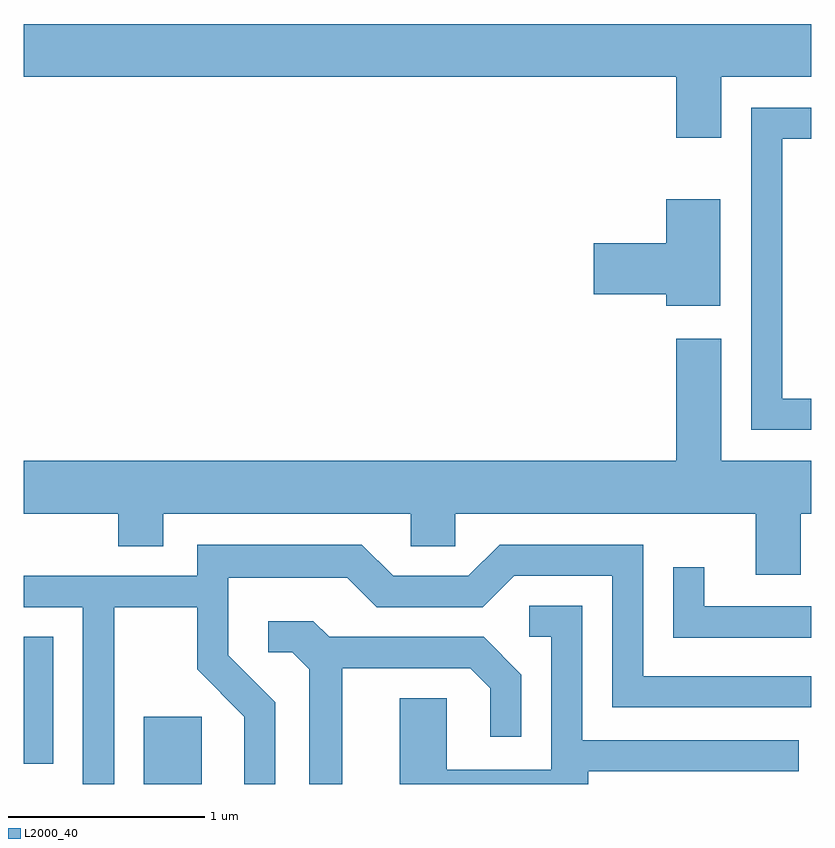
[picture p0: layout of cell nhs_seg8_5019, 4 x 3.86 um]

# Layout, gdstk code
import gdstk
lib = gdstk.Library(unit=1e-6, precision=1e-09)
def R(c, l, rs):  # rectangles x0, y0, x1, y1
    for r in rs: c.add(gdstk.rectangle(r[:2], r[2:], *l))
def P(c, l, *ps):  # polygons
    for p in ps: c.add(gdstk.Polygon(p, *l))
L2000_40 = (2000, 40)

nhs_seg8_5019 = lib.new_cell('nhs_seg8_5019')
R(nhs_seg8_5019, L2000_40, [(336.221,1868.342,336.514,1868.684), (335.611,1868.446,335.759,1869.089)])
P(nhs_seg8_5019, L2000_40, [(339.154,1871.936),(339.611,1871.936),(339.611,1872.204),(335.611,1872.204),(335.611,1871.936),(338.926,1871.936),(338.926,1871.626),(339.154,1871.626)],
  [(339.611,1870.299),(339.464,1870.299),(339.464,1871.621),(339.611,1871.621),(339.611,1871.779),(339.306,1871.779),(339.306,1870.141),(339.611,1870.141)],
  [(339.149,1871.314),(338.876,1871.314),(338.876,1871.089),(338.506,1871.089),(338.506,1870.831),(338.876,1870.831),(338.876,1870.771),(339.149,1870.771)],
  [(339.559,1869.716),(339.611,1869.716),(339.611,1869.984),(339.154,1869.984),(339.154,1870.604),(338.926,1870.604),(338.926,1869.984),(335.611,1869.984),(335.611,1869.716),(336.091,1869.716),(336.091,1869.551),(336.319,1869.551),(336.319,1869.716),(337.576,1869.716),(337.576,1869.551),(337.804,1869.551),(337.804,1869.716),(339.331,1869.716),(339.331,1869.406),(339.559,1869.406)],
  [(336.069,1869.241),(336.491,1869.241),(336.491,1868.924),(336.731,1868.684),(336.731,1868.342),(336.889,1868.342),(336.889,1868.757),(336.649,1868.997),(336.649,1869.391),(337.254,1869.391),(337.404,1869.241),(337.942,1869.241),(338.102,1869.401),(338.601,1869.401),(338.601,1868.731),(339.611,1868.731),(339.611,1868.889),(338.759,1868.889),(338.759,1869.559),(338.029,1869.559),(337.869,1869.399),(337.487,1869.399),(337.327,1869.559),(336.491,1869.559),(336.491,1869.399),(335.611,1869.399),(335.611,1869.241),(335.911,1869.241),(335.911,1868.342),(336.069,1868.342)],
  [(339.611,1869.244),(339.069,1869.244),(339.069,1869.443),(338.911,1869.443),(338.911,1869.086),(339.611,1869.086)],
  [(338.479,1868.406),(339.548,1868.406),(339.548,1868.564),(338.449,1868.564),(338.449,1869.249),(338.178,1869.249),(338.178,1869.091),(338.291,1869.091),(338.291,1868.414),(337.759,1868.414),(337.759,1868.779),(337.521,1868.779),(337.521,1868.342),(338.479,1868.342)],
  [(337.229,1868.931),(337.879,1868.931),(337.981,1868.829),(337.981,1868.583),(338.139,1868.583),(338.139,1868.897),(337.947,1869.089),(337.162,1869.089),(337.082,1869.169),(336.853,1869.169),(336.853,1869.011),(336.974,1869.011),(337.061,1868.924),(337.061,1868.342),(337.229,1868.342)])

lib.write_gds('nhs_seg8_5019.gds')
